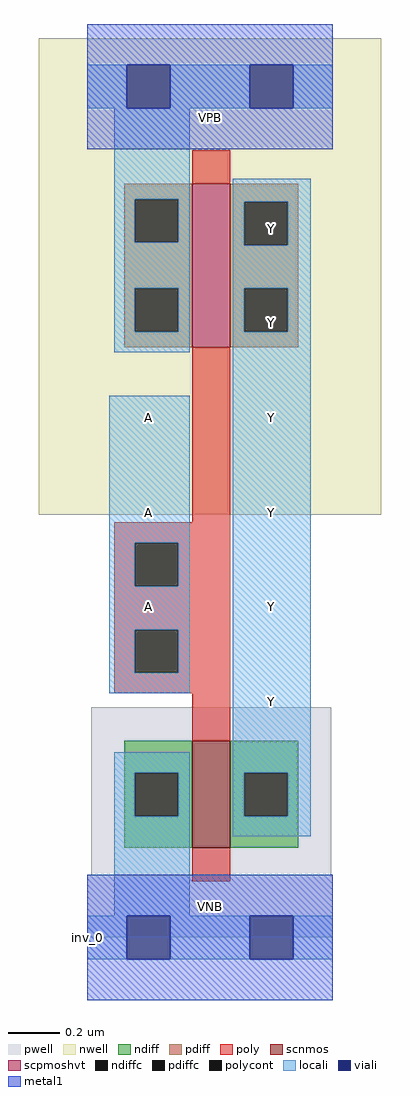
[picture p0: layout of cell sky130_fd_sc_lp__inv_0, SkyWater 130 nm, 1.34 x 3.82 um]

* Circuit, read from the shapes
.subckt sky130_fd_sc_lp__inv_0 A VGND VNB VPB VPWR Y
XM1 Y A VGND VNB sky130_fd_pr__nfet_01v8 w=0.42 l=0.15
XM2 Y A VPWR VPB sky130_fd_pr__pfet_01v8_hvt w=0.64 l=0.15
.ends

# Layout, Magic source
magic
tech sky130A
magscale 1 2
<< nwell >>
rect -38 331 230 704
<< pwell >>
rect 3 49 191 180
rect 0 0 192 49
<< scnmos >>
rect 82 70 112 154
<< scpmoshvt >>
rect 82 462 112 590
<< ndiff >>
rect 29 129 82 154
rect 29 95 37 129
rect 71 95 82 129
rect 29 70 82 95
rect 112 129 165 154
rect 112 95 123 129
rect 157 95 165 129
rect 112 70 165 95
<< pdiff >>
rect 29 578 82 590
rect 29 544 37 578
rect 71 544 82 578
rect 29 508 82 544
rect 29 474 37 508
rect 71 474 82 508
rect 29 462 82 474
rect 112 576 165 590
rect 112 542 123 576
rect 157 542 165 576
rect 112 508 165 542
rect 112 474 123 508
rect 157 474 165 508
rect 112 462 165 474
<< ndiffc >>
rect 37 95 71 129
rect 123 95 157 129
<< pdiffc >>
rect 37 544 71 578
rect 37 474 71 508
rect 123 542 157 576
rect 123 474 157 508
<< poly >>
rect 82 590 112 616
rect 82 325 112 462
rect 21 309 112 325
rect 21 275 37 309
rect 71 275 112 309
rect 21 241 112 275
rect 21 207 37 241
rect 71 207 112 241
rect 21 191 112 207
rect 82 154 112 191
rect 82 44 112 70
<< polycont >>
rect 37 275 71 309
rect 37 207 71 241
<< locali >>
rect 0 649 31 683
rect 65 649 127 683
rect 161 649 192 683
rect 21 578 80 649
rect 21 544 37 578
rect 71 544 80 578
rect 21 508 80 544
rect 21 474 37 508
rect 71 474 80 508
rect 21 458 80 474
rect 114 576 175 594
rect 114 542 123 576
rect 157 542 175 576
rect 114 508 175 542
rect 114 474 123 508
rect 157 474 175 508
rect 17 309 80 424
rect 17 275 37 309
rect 71 275 80 309
rect 17 241 80 275
rect 17 207 37 241
rect 71 207 80 241
rect 17 191 80 207
rect 21 129 80 145
rect 21 95 37 129
rect 71 95 80 129
rect 21 17 80 95
rect 114 129 175 474
rect 114 95 123 129
rect 157 95 175 129
rect 114 79 175 95
rect 0 -17 31 17
rect 65 -17 127 17
rect 161 -17 192 17
<< viali >>
rect 31 649 65 683
rect 127 649 161 683
rect 31 -17 65 17
rect 127 -17 161 17
<< metal1 >>
rect 0 683 192 715
rect 0 649 31 683
rect 65 649 127 683
rect 161 649 192 683
rect 0 617 192 649
rect 0 17 192 49
rect 0 -17 31 17
rect 65 -17 127 17
rect 161 -17 192 17
rect 0 -49 192 -17
<< labels >>
flabel pwell s 0 0 192 49 0 FreeSans 200 0 0 0 VNB
port 3 nsew ground bidirectional
flabel nwell s 0 617 192 666 0 FreeSans 200 0 0 0 VPB
port 4 nsew power bidirectional
rlabel comment s 0 0 0 0 4 inv_0
flabel metal1 s 0 617 192 666 0 FreeSans 340 0 0 0 VPWR
port 5 nsew power bidirectional
flabel metal1 s 0 0 192 49 0 FreeSans 340 0 0 0 VGND
port 2 nsew ground bidirectional
flabel locali s 31 242 65 276 0 FreeSans 340 0 0 0 A
port 1 nsew signal input
flabel locali s 31 316 65 350 0 FreeSans 340 0 0 0 A
port 1 nsew signal input
flabel locali s 31 390 65 424 0 FreeSans 340 0 0 0 A
port 1 nsew signal input
flabel locali s 127 168 161 202 0 FreeSans 340 0 0 0 Y
port 6 nsew signal output
flabel locali s 127 242 161 276 0 FreeSans 340 0 0 0 Y
port 6 nsew signal output
flabel locali s 127 316 161 350 0 FreeSans 340 0 0 0 Y
port 6 nsew signal output
flabel locali s 127 390 161 424 0 FreeSans 340 0 0 0 Y
port 6 nsew signal output
flabel locali s 127 464 161 498 0 FreeSans 340 0 0 0 Y
port 6 nsew signal output
flabel locali s 127 538 161 572 0 FreeSans 340 0 0 0 Y
port 6 nsew signal output
<< properties >>
string LEFsite unit
string LEFclass CORE
string FIXED_BBOX 0 0 192 666
string GDS_FILE $PDKPATH/libs.ref/sky130_fd_sc_lp/gds/sky130_fd_sc_lp.gds
string LEFsymmetry X Y R90
string GDS_END 5458970
string GDS_START 5455344
<< end >>
